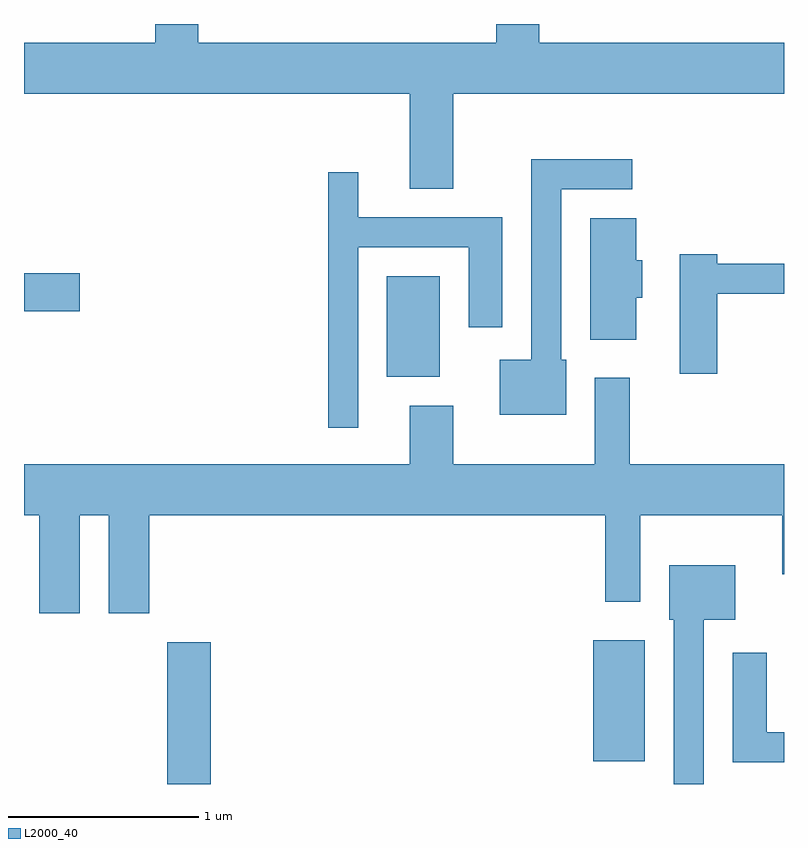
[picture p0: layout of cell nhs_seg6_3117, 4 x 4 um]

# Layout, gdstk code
import gdstk
lib = gdstk.Library(unit=1e-6, precision=1e-09)
def R(c, l, rs):  # rectangles x0, y0, x1, y1
    for r in rs: c.add(gdstk.rectangle(r[:2], r[2:], *l))
def P(c, l, *ps):  # polygons
    for p in ps: c.add(gdstk.Polygon(p, *l))
L2000_40 = (2000, 40)

nhs_seg6_3117 = lib.new_cell('nhs_seg6_3117')
R(nhs_seg6_3117, L2000_40, [(280.366,1564.162,280.594,1564.909), (282.606,1564.281,282.879,1564.919), (281.521,1566.306,281.799,1566.834), (279.611,1566.651,279.904,1566.849)])
P(nhs_seg6_3117, L2000_40, [(281.869,1567.796),(283.611,1567.796),(283.611,1568.064),(282.324,1568.064),(282.324,1568.162),(282.096,1568.162),(282.096,1568.064),(280.529,1568.064),(280.529,1568.162),(280.301,1568.162),(280.301,1568.064),(279.611,1568.064),(279.611,1567.796),(281.641,1567.796),(281.641,1567.296),(281.869,1567.296)],
  [(282.464,1566.394),(282.439,1566.394),(282.439,1567.291),(282.813,1567.291),(282.813,1567.449),(282.281,1567.449),(282.281,1566.394),(282.116,1566.394),(282.116,1566.106),(282.464,1566.106)],
  [(281.369,1566.986),(281.951,1566.986),(281.951,1566.566),(282.129,1566.566),(282.129,1567.144),(281.369,1567.144),(281.369,1567.383),(281.211,1567.383),(281.211,1566.038),(281.369,1566.038)],
  [(282.834,1566.721),(282.864,1566.721),(282.864,1566.919),(282.834,1566.919),(282.834,1567.139),(282.591,1567.139),(282.591,1566.501),(282.834,1566.501)],
  [(283.259,1566.741),(283.611,1566.741),(283.611,1566.899),(283.259,1566.899),(283.259,1566.949),(283.061,1566.949),(283.061,1566.321),(283.259,1566.321)],
  [(279.904,1565.576),(280.056,1565.576),(280.056,1565.061),(280.269,1565.061),(280.269,1565.576),(282.671,1565.576),(282.671,1565.121),(282.854,1565.121),(282.854,1565.576),(283.601,1565.576),(283.601,1565.266),(283.611,1565.266),(283.611,1565.844),(282.799,1565.844),(282.799,1566.299),(282.616,1566.299),(282.616,1565.844),(281.869,1565.844),(281.869,1566.154),(281.641,1566.154),(281.641,1565.844),(279.611,1565.844),(279.611,1565.576),(279.691,1565.576),(279.691,1565.061),(279.904,1565.061)],
  [(283.189,1565.026),(283.354,1565.026),(283.354,1565.314),(283.006,1565.314),(283.006,1565.026),(283.031,1565.026),(283.031,1564.162),(283.189,1564.162)],
  [(283.611,1564.434),(283.519,1564.434),(283.519,1564.854),(283.341,1564.854),(283.341,1564.276),(283.611,1564.276)])

lib.write_gds('nhs_seg6_3117.gds')
